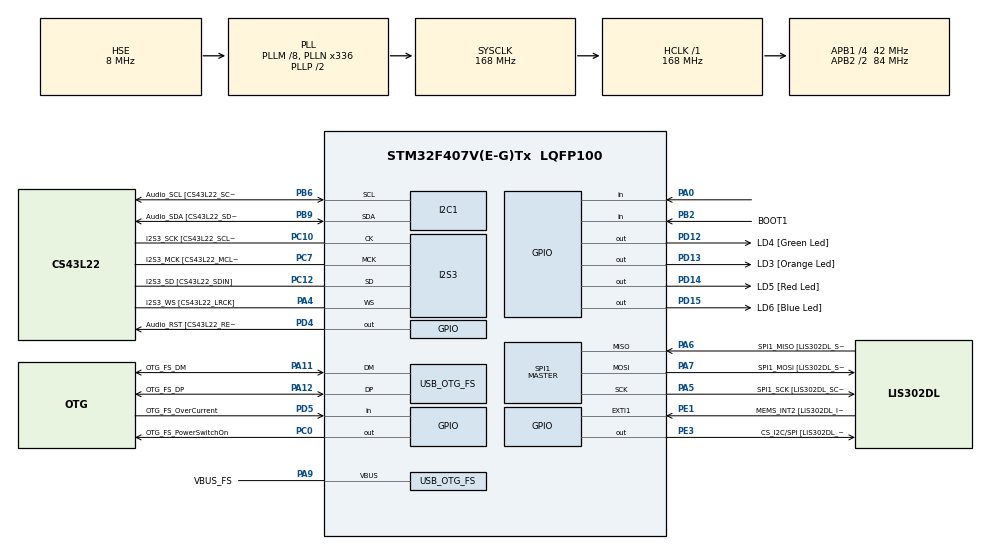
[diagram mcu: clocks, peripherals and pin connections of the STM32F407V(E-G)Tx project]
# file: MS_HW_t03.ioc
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I2S3.AudioFreq-Half_Duplex_Master=I2S_AUDIOFREQ_96K
I2S3.ErrorAudioFreq=-2.34 %
I2S3.ErrorAudioFreq-Half_Duplex_Master=0.8 %
I2S3.FullDuplexMode=I2S_FULLDUPLEXMODE_DISABLE
I2S3.Instance=SPI$Index
I2S3.RealAudioFreq=93.75 KHz
I2S3.RealAudioFreq-Half_Duplex_Master=96.774 KHz
I2S3.VirtualMode=I2S_MODE_MASTER
Mcu.Family=STM32F4
Mcu.Name=STM32F407V(E-G)Tx
Mcu.Package=LQFP100
NVIC.OTG_FS_IRQn=true\:0\:0\:false\:false\:true\:true\:true\:true
NVIC.PriorityGroup=NVIC_PRIORITYGROUP_0
PA0-WKUP.Signal=GPIO_Input
PA10.GPIO_Label=OTG_FS_ID
PA10.GPIO_Mode=GPIO_MODE_AF_PP
PA10.GPIO_PuPd=GPIO_NOPULL
PA10.GPIO_Speed=GPIO_SPEED_FREQ_LOW
PA10.Signal=USB_OTG_FS_ID
PA11.GPIO_Label=OTG_FS_DM
PA11.GPIO_Mode=GPIO_MODE_AF_PP
PA11.GPIO_PuPd=GPIO_NOPULL
PA11.GPIO_Speed=GPIO_SPEED_FREQ_LOW
PA11.Mode=Device_Only
PA11.Signal=USB_OTG_FS_DM
PA12.GPIO_Label=OTG_FS_DP
PA12.GPIO_Mode=GPIO_MODE_AF_PP
PA12.GPIO_PuPd=GPIO_NOPULL
PA12.GPIO_Speed=GPIO_SPEED_FREQ_LOW
PA12.Mode=Device_Only
PA12.Signal=USB_OTG_FS_DP
PA13.GPIO_Label=SWDIO
PA13.Mode=Serial_Wire
PA13.Signal=SYS_JTMS-SWDIO
PA14.GPIO_Label=SWCLK
PA14.Mode=Serial_Wire
PA14.Signal=SYS_JTCK-SWCLK
PA4.GPIO_Label=I2S3_WS [CS43L22_LRCK]
PA4.GPIO_Mode=GPIO_MODE_AF_PP
PA4.GPIO_PuPd=GPIO_NOPULL
PA4.GPIO_Speed=GPIO_SPEED_FREQ_LOW
PA4.Mode=Half_Duplex_Master
PA4.Signal=I2S3_WS
PA5.GPIO_Label=SPI1_SCK [LIS302DL_SCL/SPC]
PA5.GPIO_Mode=GPIO_MODE_AF_PP
PA5.GPIO_PuPd=GPIO_NOPULL
PA5.GPIO_Speed=GPIO_SPEED_FREQ_LOW
PA5.Mode=Full_Duplex_Master
PA5.Signal=SPI1_SCK
PA6.GPIO_Label=SPI1_MISO [LIS302DL_SDO]
PA6.GPIO_Mode=GPIO_MODE_AF_PP
PA6.GPIO_PuPd=GPIO_NOPULL
PA6.GPIO_Speed=GPIO_SPEED_FREQ_LOW
PA6.Mode=Full_Duplex_Master
PA6.Signal=SPI1_MISO
PA7.GPIO_Label=SPI1_MOSI [LIS302DL_SDA/SDI/SDO]
PA7.GPIO_Mode=GPIO_MODE_AF_PP
PA7.GPIO_PuPd=GPIO_NOPULL
PA7.GPIO_Speed=GPIO_SPEED_FREQ_LOW
PA7.Mode=Full_Duplex_Master
PA7.Signal=SPI1_MOSI
PA9.GPIO_Label=VBUS_FS
PA9.GPIO_Mode=GPIO_MODE_INPUT
PA9.GPIO_PuPd=GPIO_NOPULL
PA9.Mode=Activate_VBUS
PA9.Signal=USB_OTG_FS_VBUS
PB10.GPIO_Label=CLK_IN [MP45DT02_CLK]
PB10.GPIO_Mode=GPIO_MODE_AF_PP
PB10.GPIO_PuPd=GPIO_NOPULL
PB10.GPIO_Speed=GPIO_SPEED_FREQ_LOW
PB10.Signal=I2S2_CK
PB2.GPIO_Label=BOOT1
PB2.GPIO_Mode=GPIO_MODE_INPUT
PB2.GPIO_PuPd=GPIO_NOPULL
PB2.Signal=GPIO_Input
PB3.GPIO_Label=SWO
PB3.Signal=SYS_JTDO-SWO
PB6.GPIO_Label=Audio_SCL [CS43L22_SCL]
PB6.GPIO_Mode=GPIO_MODE_AF_OD
PB6.GPIO_Pu=GPIO_PULLUP
PB6.GPIO_PuPd=GPIO_NOPULL
PB6.GPIO_Speed=GPIO_SPEED_FREQ_LOW
PB6.Mode=I2C
PB6.Signal=I2C1_SCL
PB9.GPIO_Label=Audio_SDA [CS43L22_SDA]
PB9.GPIO_Mode=GPIO_MODE_AF_OD
PB9.GPIO_Pu=GPIO_PULLUP
PB9.GPIO_PuPd=GPIO_NOPULL
PB9.GPIO_Speed=GPIO_SPEED_FREQ_LOW
PB9.Mode=I2C
PB9.Signal=I2C1_SDA
PC0.GPIO_Label=OTG_FS_PowerSwitchOn
PC0.GPIO_PuPd=GPIO_NOPULL
PC0.GPIO_Speed=GPIO_SPEED_FREQ_LOW
PC0.PinState=GPIO_PIN_SET
PC0.Signal=GPIO_Output
PC10.GPIO_Label=I2S3_SCK [CS43L22_SCLK]
PC10.GPIO_Mode=GPIO_MODE_AF_PP
PC10.GPIO_PuPd=GPIO_NOPULL
PC10.GPIO_Speed=GPIO_SPEED_FREQ_LOW
PC10.Mode=Half_Duplex_Master
PC10.Signal=I2S3_CK
PC12.GPIO_Label=I2S3_SD [CS43L22_SDIN]
PC12.GPIO_Mode=GPIO_MODE_AF_PP
PC12.GPIO_PuPd=GPIO_NOPULL
PC12.GPIO_Speed=GPIO_SPEED_FREQ_LOW
PC12.Mode=Half_Duplex_Master
PC12.Signal=I2S3_SD
PC14-OSC32_IN.GPIO_Label=PC14-OSC32_IN
PC14-OSC32_IN.Mode=LSE-External-Oscillator
PC14-OSC32_IN.Signal=RCC_OSC32_IN
PC15-OSC32_OUT.GPIO_Label=PC15-OSC32_OUT
PC15-OSC32_OUT.Mode=LSE-External-Oscillator
PC15-OSC32_OUT.Signal=RCC_OSC32_OUT
PC3.GPIO_Label=PDM_OUT [MP45DT02_DOUT]
PC3.GPIO_Mode=GPIO_MODE_AF_PP
PC3.GPIO_PuPd=GPIO_NOPULL
PC3.GPIO_Speed=GPIO_SPEED_FREQ_LOW
PC3.Signal=I2S2_SD
PC7.GPIO_Label=I2S3_MCK [CS43L22_MCLK]
PC7.GPIO_Mode=GPIO_MODE_AF_PP
PC7.GPIO_PuPd=GPIO_NOPULL
PC7.GPIO_Speed=GPIO_SPEED_FREQ_LOW
PC7.Mode=Master_Clock_Activated
PC7.Signal=I2S3_MCK
PD12.GPIO_Label=LD4 [Green Led]
PD12.GPIO_PuPd=GPIO_NOPULL
PD12.GPIO_Speed=GPIO_SPEED_FREQ_LOW
PD12.Signal=GPIO_Output
PD13.GPIO_Label=LD3 [Orange Led]
PD13.GPIO_PuPd=GPIO_NOPULL
PD13.GPIO_Speed=GPIO_SPEED_FREQ_LOW
PD13.Signal=GPIO_Output
PD14.GPIO_Label=LD5 [Red Led]
PD14.GPIO_PuPd=GPIO_NOPULL
PD14.GPIO_Speed=GPIO_SPEED_FREQ_LOW
PD14.Signal=GPIO_Output
PD15.GPIO_Label=LD6 [Blue Led]
PD15.GPIO_PuPd=GPIO_NOPULL
PD15.GPIO_Speed=GPIO_SPEED_FREQ_LOW
PD15.Signal=GPIO_Output
PD4.GPIO_Label=Audio_RST [CS43L22_RESET]
PD4.GPIO_PuPd=GPIO_NOPULL
PD4.GPIO_Speed=GPIO_SPEED_FREQ_LOW
PD4.Signal=GPIO_Output
PD5.GPIO_Label=OTG_FS_OverCurrent
PD5.GPIO_Mode=GPIO_MODE_INPUT
PD5.GPIO_PuPd=GPIO_NOPULL
PD5.Signal=GPIO_Input
PE1.GPIO_Label=MEMS_INT2 [LIS302DL_INT2]
PE1.GPIO_ModeDefaultEXTI=GPIO_MODE_EVT_RISING
PE1.GPIO_PuPd=GPIO_NOPULL
PE1.Signal=GPXTI1
PE3.GPIO_Label=CS_I2C/SPI [LIS302DL_CS_I2C/SPI]
PE3.GPIO_PuPd=GPIO_NOPULL
PE3.GPIO_Speed=GPIO_SPEED_FREQ_LOW
PE3.Signal=GPIO_Output
PH0-OSC_IN.GPIO_Label=PH0-OSC_IN
PH0-OSC_IN.Mode=HSE-External-Oscillator
PH0-OSC_IN.Signal=RCC_OSC_IN
PH1-OSC_OUT.GPIO_Label=PH1-OSC_OUT
PH1-OSC_OUT.Mode=HSE-External-Oscillator
PH1-OSC_OUT.Signal=RCC_OSC_OUT
ProjectManager.HeapSize=0x200
ProjectManager.StackSize=0x400
ProjectManager.TargetToolchain=STM32CubeIDE
RCC.48MHZClocksFreq_Value=48000000
RCC.AHBFreq_Value=168000000
RCC.APB1CLKDivider=RCC_HCLK_DIV4
RCC.APB1Freq_Value=42000000
RCC.APB1TimFreq_Value=84000000
RCC.APB2CLKDivider=RCC_HCLK_DIV2
RCC.APB2Freq_Value=84000000
RCC.APB2TimFreq_Value=168000000
RCC.CortexFreq_Value=168000000
RCC.HCLKFreq_Value=168000000
RCC.HSE_VALUE=8000000
RCC.HSI_VALUE=16000000
RCC.PLLM=8
RCC.PLLN=336
RCC.PLLQ=7
RCC.SYSCLKFreq_VALUE=168000000
RCC.SYSCLKSource=RCC_SYSCLKSOURCE_PLLCLK
RCC.VCOOutputFreq_Value=336000000
SPI1.BaudRatePrescaler-Full_Duplex_Master=SPI_BAUDRATEPRESCALER_2
SPI1.CalculateBaudRate-Full_Duplex_Master=42.0 MBits/s
SPI1.Direction=SPI_DIRECTION_2LINES
SPI1.Mode=SPI_MODE_MASTER
SPI1.Mode-Full_Duplex_Master=SPI_MODE_MASTER
SPI1.VirtualType=VM_MASTER
USB_DEVICE.CLASS_NAME_FS=CDC
USB_DEVICE.VirtualMode-CDC_FS=Cdc
USB_DEVICE.VirtualMode-HID_FS=Hid
USB_DEVICE.VirtualModeFS=Cdc_FS
USB_OTG_FS.VirtualMode=Device_Only
VP_USB_DEVICE_VS_USB_DEVICE_CDC_FS.Mode=CDC_FS
board=STM32F407G-DISC1

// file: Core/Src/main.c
/* USER CODE BEGIN Header */
/**
  ******************************************************************************
  * @file           : main.c
  * @brief          : Main program body
  ******************************************************************************
  * @attention
  *
  * Copyright (c) 2023 STMicroelectronics.
  * All rights reserved.
  *
  * This software is licensed under terms that can be found in the LICENSE file
  * in the root directory of this software component.
  * If no LICENSE file comes with this software, it is provided AS-IS.
  *
  ******************************************************************************
  */
/* USER CODE END Header */
#include "main.h"
#include "usb_device.h"

/* USER CODE BEGIN Includes */
#include "string.h"
#include "stm32f4_discovery_accelerometer.h"
/* USER CODE END Includes */

I2C_HandleTypeDef hi2c1;

I2S_HandleTypeDef hi2s3;

SPI_HandleTypeDef hspi1;

/* USER CODE BEGIN PV */
int16_t accData[3];
uint8_t strTemp[100];
uint8_t click;
/* USER CODE END PV */

void SystemClock_Config(void);
static void MX_GPIO_Init(void);
static void MX_I2C1_Init(void);
static void MX_I2S3_Init(void);
static void MX_SPI1_Init(void);

/* USER CODE BEGIN 0 */
void USBRxHandler(uint8_t* buf, uint16_t len){
	if(strncmp(buf, "Hi", len) == 0){      // if it is 0, it means they are equal
		CDC_Transmit_FS("Welcome\r\n", 9);
	}
	return;
}
/* USER CODE END 0 */

int main(void)
{

  /* MCU Configuration--------------------------------------------------------*/

  /* Reset of all peripherals, Initializes the Flash interface and the Systick. */
  HAL_Init();

  /* Configure the system clock */
  SystemClock_Config();

  /* Initialize all configured peripherals */
  MX_GPIO_Init();
  MX_I2C1_Init();
  MX_I2S3_Init();
  MX_SPI1_Init();
  MX_USB_DEVICE_Init();
  /* USER CODE BEGIN 2 */
if (BSP_ACCELERO_Init() != ACCELERO_OK){
	while(1){
		CDC_Transmit_FS("Accelero error\r\n",16);
		HAL_GPIO_TogglePin(GPIOD, GPIO_PIN_13);
		HAL_Delay(500);
	}

}
  /* USER CODE END 2 */

  /* Infinite loop */
  /* USER CODE BEGIN WHILE */
  while (1)
  {
	  //HAL_ADC_Start_IT(&hadc1);
	  click = HAL_GPIO_ReadPin(GPIOA, GPIO_PIN_0);
	  BSP_ACCELERO_GetXYZ(accData);

	  sprintf(strTemp,"%d,%d,%d,%d\r\n",accData[0],accData[1],accData[2],click);
	  CDC_Transmit_FS(strTemp, strlen(strTemp));
    /* USER CODE END WHILE */

    /* USER CODE BEGIN 3 */
	//  CDC_Transmit_FS("Hello\r\n",7);
	//  HAL_GPIO_TogglePin(GPIOD, GPIO_PIN_15);
	  HAL_Delay(100);

  }
  /* USER CODE END 3 */
}

void SystemClock_Config(void)
{
  RCC_OscInitTypeDef RCC_OscInitStruct = {0};
  RCC_ClkInitTypeDef RCC_ClkInitStruct = {0};

  /** Configure the main internal regulator output voltage
  */
  __HAL_RCC_PWR_CLK_ENABLE();
  __HAL_PWR_VOLTAGESCALING_CONFIG(PWR_REGULATOR_VOLTAGE_SCALE1);

  /** Initializes the RCC Oscillators according to the specified parameters
  * in the RCC_OscInitTypeDef structure.
  */
  RCC_OscInitStruct.OscillatorType = RCC_OSCILLATORTYPE_HSE;
  RCC_OscInitStruct.HSEState = RCC_HSE_ON;
  RCC_OscInitStruct.PLL.PLLState = RCC_PLL_ON;
  RCC_OscInitStruct.PLL.PLLSource = RCC_PLLSOURCE_HSE;
  RCC_OscInitStruct.PLL.PLLM = 8;
  RCC_OscInitStruct.PLL.PLLN = 336;
  RCC_OscInitStruct.PLL.PLLP = RCC_PLLP_DIV2;
  RCC_OscInitStruct.PLL.PLLQ = 7;
  if (HAL_RCC_OscConfig(&RCC_OscInitStruct) != HAL_OK)
  {
    Error_Handler();
  }

  /** Initializes the CPU, AHB and APB buses clocks
  */
  RCC_ClkInitStruct.ClockType = RCC_CLOCKTYPE_HCLK|RCC_CLOCKTYPE_SYSCLK
                              |RCC_CLOCKTYPE_PCLK1|RCC_CLOCKTYPE_PCLK2;
  RCC_ClkInitStruct.SYSCLKSource = RCC_SYSCLKSOURCE_PLLCLK;
  RCC_ClkInitStruct.AHBCLKDivider = RCC_SYSCLK_DIV1;
  RCC_ClkInitStruct.APB1CLKDivider = RCC_HCLK_DIV4;
  RCC_ClkInitStruct.APB2CLKDivider = RCC_HCLK_DIV2;

  if (HAL_RCC_ClockConfig(&RCC_ClkInitStruct, FLASH_LATENCY_5) != HAL_OK)
  {
    Error_Handler();
  }
}

static void MX_I2C1_Init(void)
{

  hi2c1.Instance = I2C1;
  hi2c1.Init.ClockSpeed = 100000;
  hi2c1.Init.DutyCycle = I2C_DUTYCYCLE_2;
  hi2c1.Init.OwnAddress1 = 0;
  hi2c1.Init.AddressingMode = I2C_ADDRESSINGMODE_7BIT;
  hi2c1.Init.DualAddressMode = I2C_DUALADDRESS_DISABLE;
  hi2c1.Init.OwnAddress2 = 0;
  hi2c1.Init.GeneralCallMode = I2C_GENERALCALL_DISABLE;
  hi2c1.Init.NoStretchMode = I2C_NOSTRETCH_DISABLE;
  if (HAL_I2C_Init(&hi2c1) != HAL_OK)
  {
    Error_Handler();
  }

}

static void MX_I2S3_Init(void)
{

  hi2s3.Instance = SPI3;
  hi2s3.Init.Mode = I2S_MODE_MASTER_TX;
  hi2s3.Init.Standard = I2S_STANDARD_PHILIPS;
  hi2s3.Init.DataFormat = I2S_DATAFORMAT_16B;
  hi2s3.Init.MCLKOutput = I2S_MCLKOUTPUT_ENABLE;
  hi2s3.Init.AudioFreq = I2S_AUDIOFREQ_96K;
  hi2s3.Init.CPOL = I2S_CPOL_LOW;
  hi2s3.Init.ClockSource = I2S_CLOCK_PLL;
  hi2s3.Init.FullDuplexMode = I2S_FULLDUPLEXMODE_DISABLE;
  if (HAL_I2S_Init(&hi2s3) != HAL_OK)
  {
    Error_Handler();
  }

}

static void MX_SPI1_Init(void)
{

  /* SPI1 parameter configuration*/
  hspi1.Instance = SPI1;
  hspi1.Init.Mode = SPI_MODE_MASTER;
  hspi1.Init.Direction = SPI_DIRECTION_2LINES;
  hspi1.Init.DataSize = SPI_DATASIZE_8BIT;
  hspi1.Init.CLKPolarity = SPI_POLARITY_LOW;
  hspi1.Init.CLKPhase = SPI_PHASE_1EDGE;
  hspi1.Init.NSS = SPI_NSS_SOFT;
  hspi1.Init.BaudRatePrescaler = SPI_BAUDRATEPRESCALER_2;
  hspi1.Init.FirstBit = SPI_FIRSTBIT_MSB;
  hspi1.Init.TIMode = SPI_TIMODE_DISABLE;
  hspi1.Init.CRCCalculation = SPI_CRCCALCULATION_DISABLE;
  hspi1.Init.CRCPolynomial = 10;
  if (HAL_SPI_Init(&hspi1) != HAL_OK)
  {
    Error_Handler();
  }

}

static void MX_GPIO_Init(void)
{
  GPIO_InitTypeDef GPIO_InitStruct = {0};

  /* GPIO Ports Clock Enable */
  __HAL_RCC_GPIOE_CLK_ENABLE();
  __HAL_RCC_GPIOC_CLK_ENABLE();
  __HAL_RCC_GPIOH_CLK_ENABLE();
  __HAL_RCC_GPIOA_CLK_ENABLE();
  __HAL_RCC_GPIOB_CLK_ENABLE();
  __HAL_RCC_GPIOD_CLK_ENABLE();

  /*Configure GPIO pin Output Level */
  HAL_GPIO_WritePin(CS_I2C_SPI_GPIO_Port, CS_I2C_SPI_Pin, GPIO_PIN_RESET);

  /*Configure GPIO pin Output Level */
  HAL_GPIO_WritePin(OTG_FS_PowerSwitchOn_GPIO_Port, OTG_FS_PowerSwitchOn_Pin, GPIO_PIN_SET);

  /*Configure GPIO pin Output Level */
  HAL_GPIO_WritePin(GPIOD, LD4_Pin|LD3_Pin|LD5_Pin|LD6_Pin
                          |Audio_RST_Pin, GPIO_PIN_RESET);

  /*Configure GPIO pin : CS_I2C_SPI_Pin */
  GPIO_InitStruct.Pin = CS_I2C_SPI_Pin;
  GPIO_InitStruct.Mode = GPIO_MODE_OUTPUT_PP;
  GPIO_InitStruct.Pull = GPIO_NOPULL;
  GPIO_InitStruct.Speed = GPIO_SPEED_FREQ_LOW;
  HAL_GPIO_Init(CS_I2C_SPI_GPIO_Port, &GPIO_InitStruct);

  /*Configure GPIO pin : OTG_FS_PowerSwitchOn_Pin */
  GPIO_InitStruct.Pin = OTG_FS_PowerSwitchOn_Pin;
  GPIO_InitStruct.Mode = GPIO_MODE_OUTPUT_PP;
  GPIO_InitStruct.Pull = GPIO_NOPULL;
  GPIO_InitStruct.Speed = GPIO_SPEED_FREQ_LOW;
  HAL_GPIO_Init(OTG_FS_PowerSwitchOn_GPIO_Port, &GPIO_InitStruct);

  /*Configure GPIO pin : PDM_OUT_Pin */
  GPIO_InitStruct.Pin = PDM_OUT_Pin;
  GPIO_InitStruct.Mode = GPIO_MODE_AF_PP;
  GPIO_InitStruct.Pull = GPIO_NOPULL;
  GPIO_InitStruct.Speed = GPIO_SPEED_FREQ_LOW;
  GPIO_InitStruct.Alternate = GPIO_AF5_SPI2;
  HAL_GPIO_Init(PDM_OUT_GPIO_Port, &GPIO_InitStruct);

  /*Configure GPIO pin : PA0 */
  GPIO_InitStruct.Pin = GPIO_PIN_0;
  GPIO_InitStruct.Mode = GPIO_MODE_INPUT;
  GPIO_InitStruct.Pull = GPIO_NOPULL;
  HAL_GPIO_Init(GPIOA, &GPIO_InitStruct);

  /*Configure GPIO pin : BOOT1_Pin */
  GPIO_InitStruct.Pin = BOOT1_Pin;
  GPIO_InitStruct.Mode = GPIO_MODE_INPUT;
  GPIO_InitStruct.Pull = GPIO_NOPULL;
  HAL_GPIO_Init(BOOT1_GPIO_Port, &GPIO_InitStruct);

  /*Configure GPIO pin : CLK_IN_Pin */
  GPIO_InitStruct.Pin = CLK_IN_Pin;
  GPIO_InitStruct.Mode = GPIO_MODE_AF_PP;
  GPIO_InitStruct.Pull = GPIO_NOPULL;
  GPIO_InitStruct.Speed = GPIO_SPEED_FREQ_LOW;
  GPIO_InitStruct.Alternate = GPIO_AF5_SPI2;
  HAL_GPIO_Init(CLK_IN_GPIO_Port, &GPIO_InitStruct);

  /*Configure GPIO pins : LD4_Pin LD3_Pin LD5_Pin LD6_Pin
                           Audio_RST_Pin */
  GPIO_InitStruct.Pin = LD4_Pin|LD3_Pin|LD5_Pin|LD6_Pin
                          |Audio_RST_Pin;
  GPIO_InitStruct.Mode = GPIO_MODE_OUTPUT_PP;
  GPIO_InitStruct.Pull = GPIO_NOPULL;
  GPIO_InitStruct.Speed = GPIO_SPEED_FREQ_LOW;
  HAL_GPIO_Init(GPIOD, &GPIO_InitStruct);

  /*Configure GPIO pin : OTG_FS_OverCurrent_Pin */
  GPIO_InitStruct.Pin = OTG_FS_OverCurrent_Pin;
  GPIO_InitStruct.Mode = GPIO_MODE_INPUT;
  GPIO_InitStruct.Pull = GPIO_NOPULL;
  HAL_GPIO_Init(OTG_FS_OverCurrent_GPIO_Port, &GPIO_InitStruct);

  /*Configure GPIO pin : MEMS_INT2_Pin */
  GPIO_InitStruct.Pin = MEMS_INT2_Pin;
  GPIO_InitStruct.Mode = GPIO_MODE_EVT_RISING;
  GPIO_InitStruct.Pull = GPIO_NOPULL;
  HAL_GPIO_Init(MEMS_INT2_GPIO_Port, &GPIO_InitStruct);

}

/* USER CODE BEGIN 4 */
/*
void HAL_ADC_ConvCpltCallback(ADC_HandleTypeDef* hadc)
{
  click = HAL_ADC_GetValue(hadc);
}
*/
/* USER CODE END 4 */

void Error_Handler(void)
{
  __disable_irq();
  while (1)
  {
  }
}
